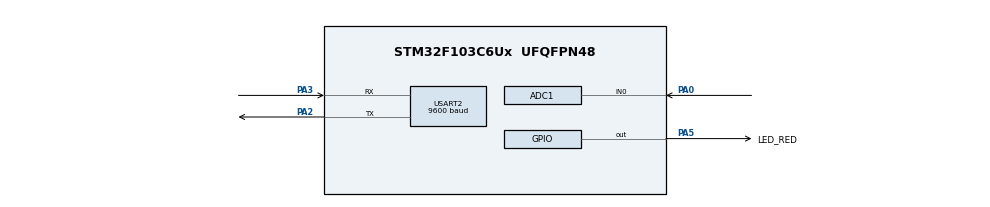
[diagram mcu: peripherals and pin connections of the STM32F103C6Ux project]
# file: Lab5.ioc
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ADC1.Channel-1\#ChannelRegularConversion=ADC_CHANNEL_0
ADC1.ContinuousConvMode=ENABLE
ADC1.NbrOfConversionFlag=1
ADC1.Rank-1\#ChannelRegularConversion=1
ADC1.SamplingTime-1\#ChannelRegularConversion=ADC_SAMPLETIME_1CYCLE_5
ADC1.master=1
Mcu.Family=STM32F1
Mcu.Name=STM32F103C6Ux
Mcu.Package=UFQFPN48
NVIC.PriorityGroup=NVIC_PRIORITYGROUP_4
NVIC.TIM2_IRQn=true\:0\:0\:false\:false\:true\:true\:true
NVIC.USART2_IRQn=true\:0\:0\:false\:false\:true\:true\:true
PA0-WKUP.Signal=ADCx_IN0
PA2.Mode=Asynchronous
PA2.Signal=USART2_TX
PA3.Mode=Asynchronous
PA3.Signal=USART2_RX
PA5.GPIO_Label=LED_RED
PA5.Signal=GPIO_Output
PA6.Signal=S_TIM3_CH1
ProjectManager.HeapSize=0x200
ProjectManager.StackSize=0x400
ProjectManager.TargetToolchain=STM32CubeIDE
RCC.APB1Freq_Value=8000000
RCC.APB2Freq_Value=8000000
SH.ADCx_IN0.0=ADC1_IN0,IN0
SH.S_TIM3_CH1.0=TIM3_CH1
TIM2.Period=9
TIM2.Prescaler=7999
USART2.BaudRate=9600
USART2.VirtualMode=VM_ASYNC
VP_SYS_VS_ND.Mode=No_Debug
VP_TIM2_VS_ClockSourceINT.Mode=Internal
board=custom

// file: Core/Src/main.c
/* USER CODE BEGIN Header */
/**
  ******************************************************************************
  * @file           : main.c
  * @brief          : Main program body
  ******************************************************************************
  * @attention
  *
  * <h2><center>&copy; Copyright (c) 2022 STMicroelectronics.
  * All rights reserved.</center></h2>
  *
  * This software component is licensed by ST under BSD 3-Clause license,
  * the "License"; You may not use this file except in compliance with the
  * License. You may obtain a copy of the License at:
  *                        opensource.org/licenses/BSD-3-Clause
  *
  ******************************************************************************
  */
/* USER CODE END Header */
#include "main.h"

/* USER CODE BEGIN Includes */
#include <stdio.h>
#include "fsm_automatic.h"
#include "timer.h"
/* USER CODE END Includes */

ADC_HandleTypeDef hadc1;

TIM_HandleTypeDef htim2;

UART_HandleTypeDef huart2;

void SystemClock_Config(void);
static void MX_GPIO_Init(void);
static void MX_ADC1_Init(void);
static void MX_USART2_UART_Init(void);
static void MX_TIM2_Init(void);

/* USER CODE BEGIN 0 */
#define MAX_BUFFER_SIZE  30
uint8_t temp = 0;
uint8_t buffer[MAX_BUFFER_SIZE];
uint8_t index_buffer = 0;
uint8_t buffer_flag = 0;

void HAL_UART_RxCpltCallback(UART_HandleTypeDef *huart){
	if(huart->Instance == USART2){

		//HAL_UART_Transmit(&huart2, &temp, 1, 50);
		buffer[index_buffer++] = temp;
		if(index_buffer == 30) index_buffer = 0;
		buffer_flag = 1;

		HAL_UART_Receive_IT(&huart2, &temp, 1);
	}
}
//void HAL_UART_RxCpltCallback(UART_HandleTypeDef *huart){
//	if(huart->Instance == USART2){
//		HAL_UART_Transmit(&huart2, &temp, 1, 50);
//		HAL_UART_Receive_IT(&huart2, &temp, 1);
//	}
//}
/* USER CODE END 0 */

int main(void)
{

  /* MCU Configuration--------------------------------------------------------*/

  /* Reset of all peripherals, Initializes the Flash interface and the Systick. */
  HAL_Init();

  /* Configure the system clock */
  SystemClock_Config();

  /* Initialize all configured peripherals */
  MX_GPIO_Init();
  MX_ADC1_Init();
  MX_USART2_UART_Init();
  MX_TIM2_Init();
  /* USER CODE BEGIN 2 */
  HAL_UART_Receive_IT(&huart2, &temp, 1);
  HAL_ADC_Start(&hadc1);
  HAL_TIM_Base_Start_IT(&htim2);
  /* USER CODE END 2 */

  /* Infinite loop */
  /* USER CODE BEGIN WHILE */
  uint32_t ADC_value = 0;
  char str[50];
  state1 = INIT;
  state2 = 0;
  while (1)
  {
	  if( buffer_flag == 1) {
		  HAL_UART_Transmit(&huart2, &temp, 1, 50);
		  if(temp == '#') HAL_UART_Transmit (& huart2 , (void *) str , sprintf ( str , "\r\n") , 3000);
		  command_parser_fsm(temp);
		  buffer_flag = 0;
	  }
	  uart_communication_fsm();
	  if(flag_uart){
		  ADC_value =  HAL_ADC_GetValue(&hadc1);
		  HAL_UART_Transmit (& huart2 , (void *) str , sprintf ( str , "!ADC=%ld#\r\n", ADC_value ) , 3000);
		  setTimer1(3000);
		  flag_uart = 0;
	  }
    /* USER CODE END WHILE */

  }
}

void SystemClock_Config(void)
{
  RCC_OscInitTypeDef RCC_OscInitStruct = {0};
  RCC_ClkInitTypeDef RCC_ClkInitStruct = {0};
  RCC_PeriphCLKInitTypeDef PeriphClkInit = {0};

  /** Initializes the RCC Oscillators according to the specified parameters
  * in the RCC_OscInitTypeDef structure.
  */
  RCC_OscInitStruct.OscillatorType = RCC_OSCILLATORTYPE_HSI;
  RCC_OscInitStruct.HSIState = RCC_HSI_ON;
  RCC_OscInitStruct.HSICalibrationValue = RCC_HSICALIBRATION_DEFAULT;
  RCC_OscInitStruct.PLL.PLLState = RCC_PLL_NONE;
  if (HAL_RCC_OscConfig(&RCC_OscInitStruct) != HAL_OK)
  {
    Error_Handler();
  }
  /** Initializes the CPU, AHB and APB buses clocks
  */
  RCC_ClkInitStruct.ClockType = RCC_CLOCKTYPE_HCLK|RCC_CLOCKTYPE_SYSCLK
                              |RCC_CLOCKTYPE_PCLK1|RCC_CLOCKTYPE_PCLK2;
  RCC_ClkInitStruct.SYSCLKSource = RCC_SYSCLKSOURCE_HSI;
  RCC_ClkInitStruct.AHBCLKDivider = RCC_SYSCLK_DIV1;
  RCC_ClkInitStruct.APB1CLKDivider = RCC_HCLK_DIV1;
  RCC_ClkInitStruct.APB2CLKDivider = RCC_HCLK_DIV1;

  if (HAL_RCC_ClockConfig(&RCC_ClkInitStruct, FLASH_LATENCY_0) != HAL_OK)
  {
    Error_Handler();
  }
  PeriphClkInit.PeriphClockSelection = RCC_PERIPHCLK_ADC;
  PeriphClkInit.AdcClockSelection = RCC_ADCPCLK2_DIV2;
  if (HAL_RCCEx_PeriphCLKConfig(&PeriphClkInit) != HAL_OK)
  {
    Error_Handler();
  }
}

static void MX_ADC1_Init(void)
{

  ADC_ChannelConfTypeDef sConfig = {0};

  /** Common config
  */
  hadc1.Instance = ADC1;
  hadc1.Init.ScanConvMode = ADC_SCAN_DISABLE;
  hadc1.Init.ContinuousConvMode = ENABLE;
  hadc1.Init.DiscontinuousConvMode = DISABLE;
  hadc1.Init.ExternalTrigConv = ADC_SOFTWARE_START;
  hadc1.Init.DataAlign = ADC_DATAALIGN_RIGHT;
  hadc1.Init.NbrOfConversion = 1;
  if (HAL_ADC_Init(&hadc1) != HAL_OK)
  {
    Error_Handler();
  }
  /** Configure Regular Channel
  */
  sConfig.Channel = ADC_CHANNEL_0;
  sConfig.Rank = ADC_REGULAR_RANK_1;
  sConfig.SamplingTime = ADC_SAMPLETIME_1CYCLE_5;
  if (HAL_ADC_ConfigChannel(&hadc1, &sConfig) != HAL_OK)
  {
    Error_Handler();
  }

}

static void MX_TIM2_Init(void)
{

  TIM_ClockConfigTypeDef sClockSourceConfig = {0};
  TIM_MasterConfigTypeDef sMasterConfig = {0};

  htim2.Instance = TIM2;
  htim2.Init.Prescaler = 7999;
  htim2.Init.CounterMode = TIM_COUNTERMODE_UP;
  htim2.Init.Period = 9;
  htim2.Init.ClockDivision = TIM_CLOCKDIVISION_DIV1;
  htim2.Init.AutoReloadPreload = TIM_AUTORELOAD_PRELOAD_DISABLE;
  if (HAL_TIM_Base_Init(&htim2) != HAL_OK)
  {
    Error_Handler();
  }
  sClockSourceConfig.ClockSource = TIM_CLOCKSOURCE_INTERNAL;
  if (HAL_TIM_ConfigClockSource(&htim2, &sClockSourceConfig) != HAL_OK)
  {
    Error_Handler();
  }
  sMasterConfig.MasterOutputTrigger = TIM_TRGO_RESET;
  sMasterConfig.MasterSlaveMode = TIM_MASTERSLAVEMODE_DISABLE;
  if (HAL_TIMEx_MasterConfigSynchronization(&htim2, &sMasterConfig) != HAL_OK)
  {
    Error_Handler();
  }

}

static void MX_USART2_UART_Init(void)
{

  huart2.Instance = USART2;
  huart2.Init.BaudRate = 9600;
  huart2.Init.WordLength = UART_WORDLENGTH_8B;
  huart2.Init.StopBits = UART_STOPBITS_1;
  huart2.Init.Parity = UART_PARITY_NONE;
  huart2.Init.Mode = UART_MODE_TX_RX;
  huart2.Init.HwFlowCtl = UART_HWCONTROL_NONE;
  huart2.Init.OverSampling = UART_OVERSAMPLING_16;
  if (HAL_UART_Init(&huart2) != HAL_OK)
  {
    Error_Handler();
  }

}

static void MX_GPIO_Init(void)
{
  GPIO_InitTypeDef GPIO_InitStruct = {0};

  /* GPIO Ports Clock Enable */
  __HAL_RCC_GPIOA_CLK_ENABLE();

  /*Configure GPIO pin Output Level */
  HAL_GPIO_WritePin(LED_RED_GPIO_Port, LED_RED_Pin, GPIO_PIN_RESET);

  /*Configure GPIO pin : LED_RED_Pin */
  GPIO_InitStruct.Pin = LED_RED_Pin;
  GPIO_InitStruct.Mode = GPIO_MODE_OUTPUT_PP;
  GPIO_InitStruct.Pull = GPIO_NOPULL;
  GPIO_InitStruct.Speed = GPIO_SPEED_FREQ_LOW;
  HAL_GPIO_Init(LED_RED_GPIO_Port, &GPIO_InitStruct);

  /*Configure GPIO pin : PA6 */
  GPIO_InitStruct.Pin = GPIO_PIN_6;
  GPIO_InitStruct.Mode = GPIO_MODE_AF_PP;
  GPIO_InitStruct.Speed = GPIO_SPEED_FREQ_LOW;
  HAL_GPIO_Init(GPIOA, &GPIO_InitStruct);

}

/* USER CODE BEGIN 4 */
void HAL_TIM_PeriodElapsedCallback(TIM_HandleTypeDef *htim){
	timerRun();
}
/* USER CODE END 4 */

void Error_Handler(void)
{
  __disable_irq();
  while (1)
  {
  }
}

/************************ (C) COPYRIGHT STMicroelectronics *****END OF FILE****/
